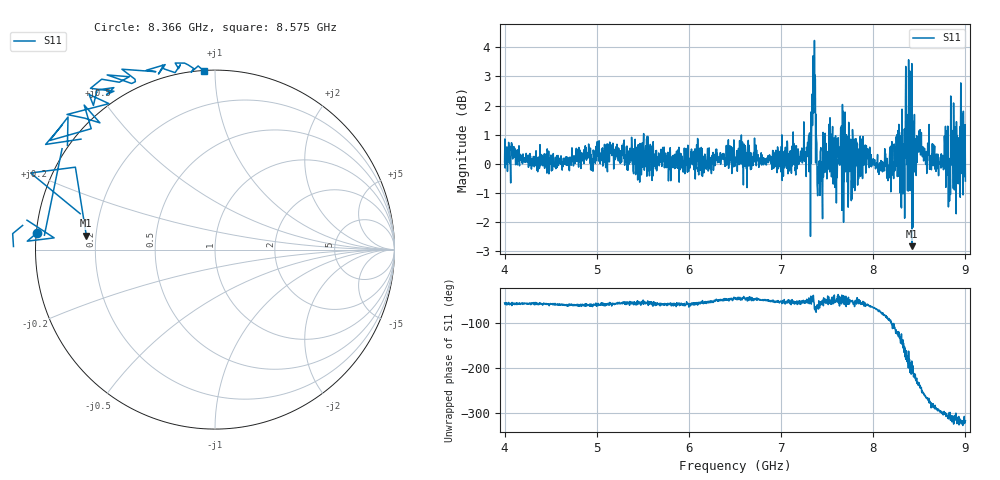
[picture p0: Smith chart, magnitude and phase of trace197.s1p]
! Created with skrf 1.8.0 (http://scikit-rf.org).
# Hz S RI R 50.0
!freq ReS11 ImS11
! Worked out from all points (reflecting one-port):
!   1601 points, 4 GHz to 9 GHz, reference 50 ohm
!   lowest |S11| = -2.8 dB at 8.422 GHz (marker M1), VSWR 6.17, Z = 8.13 + j2.64 ohm
!   phase of S11 starts at -56 deg and turns -261 deg over the sweep
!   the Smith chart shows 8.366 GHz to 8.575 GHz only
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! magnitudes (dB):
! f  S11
! 4 GHz  0.1
! 4.625 GHz  -0.2
! 5.25 GHz  0.0
! 5.875 GHz  -0.2
! 6.5 GHz  0.0
! 7.125 GHz  0.3
! 7.294 GHz  0.2
! 7.356 GHz  3.0
! 7.4 GHz  -0.2
! 7.425 GHz  0.4
! 7.534 GHz  0.5
! 7.588 GHz  0.1
! 7.669 GHz  1.0
! 7.75 GHz  -0.2
! 7.891 GHz  0.1
! 8.169 GHz  -0.4
! 8.259 GHz  1.0
! 8.316 GHz  -0.2
! 8.334 GHz  0.7
! 8.375 GHz  0.5
! 8.422 GHz  -2.8
! 8.447 GHz  1.7
! 8.788 GHz  -0.8
! 8.812 GHz  0.5
! 8.866 GHz  0.4
! 8.903 GHz  1.4
! 8.972 GHz  0.6
! 9 GHz  -0.6
